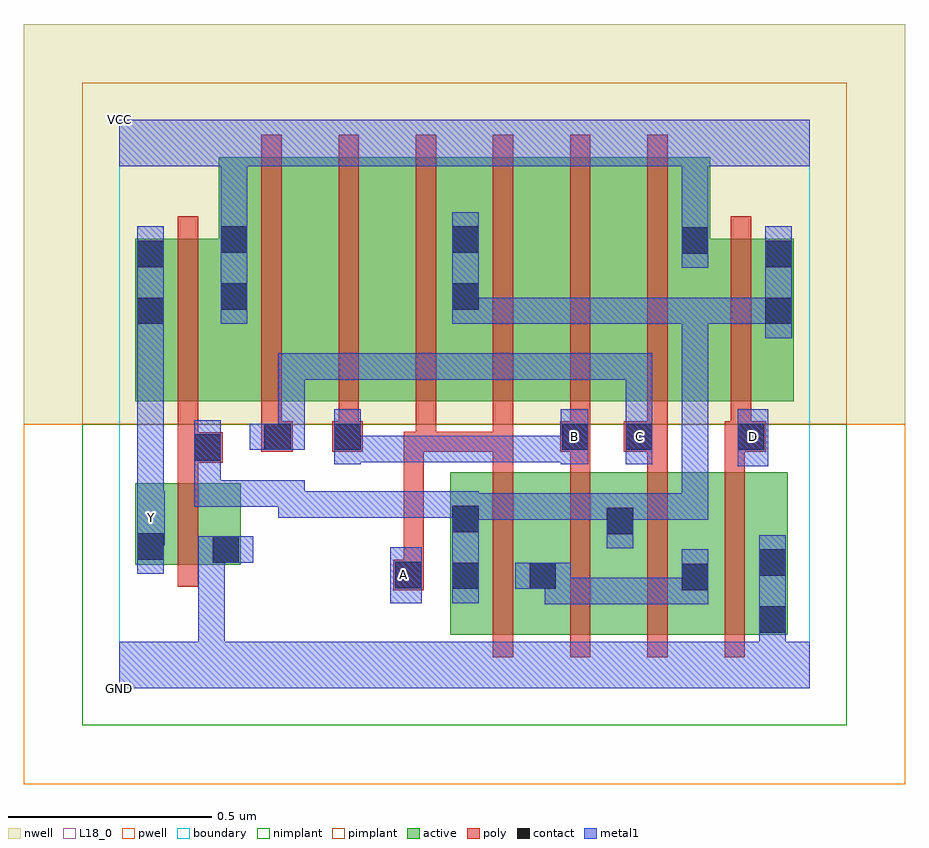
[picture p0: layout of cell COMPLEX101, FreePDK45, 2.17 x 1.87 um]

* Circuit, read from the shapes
.subckt COMPLEX101 A B C D GND VCC Y
M1 GND n1 Y VSUBS nfet w=0.2u l=0.05u
M2 n2 A n1 VSUBS nfet w=0.4u l=0.05u
M3 n1 B n2 VSUBS nfet w=0.4u l=0.05u
M4 n2 C n1 VSUBS nfet w=0.4u l=0.05u
M5 GND D n2 VSUBS nfet w=0.4u l=0.05u
M6 VCC n1 Y n3 pfet w=0.4u l=0.05u
M7 n4 C VCC n3 pfet w=0.6u l=0.05u
M8 n5 B n4 n3 pfet w=0.6u l=0.05u
M9 n1 A n5 n3 pfet w=0.6u l=0.05u
M10 n6 A n1 n3 pfet w=0.6u l=0.05u
M11 n7 B n6 n3 pfet w=0.6u l=0.05u
M12 VCC C n7 n3 pfet w=0.6u l=0.05u
M13 n1 D VCC n3 pfet w=0.4u l=0.05u
.ends

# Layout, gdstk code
import gdstk
lib = gdstk.Library(unit=1e-6, precision=1e-09)
def R(c, l, rs):  # rectangles x0, y0, x1, y1
    for r in rs: c.add(gdstk.rectangle(r[:2], r[2:], *l))
def A(c, l, x, y, w, h, nx, ny, dx, dy):  # array of equal rectangles
    R(c, l, [(x+i*dx, y+j*dy, x+i*dx+w, y+j*dy+h) for i in range(nx) for j in range(ny)])
active = (1, 0)
pwell = (2, 0)
nwell = (3, 0)
nimplant = (4, 0)
pimplant = (5, 0)
poly = (9, 0)
contact = (10, 0)
metal1 = (11, 0)
L18_0 = (18, 0)
boundary = (235, 0)

complex101 = lib.new_cell('COMPLEX101')
R(complex101, active, [(0.815,0.132,1.08,0.532), (1.005,0.132,1.27,0.532), (1.195,0.132,1.455,0.532), (1.38,0.132,1.645,0.532), (1.57,0.132,1.645,0.532), (0.815,0.195,0.89,0.532), (1.005,0.195,1.08,0.492), (1.195,0.195,1.27,0.492), (1.38,0.195,1.455,0.492), (0.04,0.305,0.115,0.505), (0.04,0.305,0.3,0.505), (0.225,0.305,0.3,0.505), (0.04,0.707,0.115,1.107), (0.04,0.707,0.32,1.107), (0.245,0.707,0.47,1.307), (0.245,0.707,0.32,1.307), (0.47,0.707,0.66,1.307), (0.66,0.707,0.89,1.307), (0.815,0.707,1.04,1.307), (0.815,0.707,0.89,1.2), (1.04,0.707,1.23,1.307), (1.23,0.707,1.455,1.307), (1.38,0.707,1.66,1.107), (1.585,0.707,1.66,1.107), (1.38,0.802,1.455,1.307)])
R(complex101, pwell, [(-0.235,-0.235,1.935,0.65)])
R(complex101, nwell, [(-0.235,0.65,1.935,1.635)])
R(complex101, nimplant, [(-0.09,-0.09,1.79,0.65)])
R(complex101, pimplant, [(-0.09,0.65,1.79,1.49)])
A(complex101, poly, 0.92, 0.077, 0.05, 0.51, 4, 1, 0.19, 0)
A(complex101, poly, 0.92, 0.537, 0.05, 0.095, 4, 1, 0.19, 0)
A(complex101, poly, 0.35, 0.652, 0.05, 0.71, 6, 1, 0.19, 0)
R(complex101, poly, [(0.675,0.242,0.75,0.317), (0.145,0.25,0.195,0.56), (0.7,0.267,0.75,0.632), (0.145,0.51,0.195,0.605), (0.145,0.555,0.255,0.63), (0.145,0.58,0.195,0.702), (0.35,0.582,0.427,0.657), (0.525,0.582,0.6,0.657), (0.7,0.582,0.765,0.632), (0.715,0.582,0.765,0.632), (0.715,0.582,0.78,0.632), (0.73,0.582,0.78,0.702), (0.73,0.582,0.97,0.632), (0.73,0.582,0.78,0.632), (0.73,0.582,0.78,0.632), (0.92,0.582,0.97,0.702), (0.92,0.582,0.97,0.632), (1.085,0.582,1.16,0.657), (1.242,0.582,1.35,0.657), (1.49,0.582,1.592,0.657), (0.35,0.607,0.4,0.702), (0.54,0.607,0.59,0.702), (1.11,0.607,1.16,0.702), (1.3,0.607,1.35,0.702), (1.505,0.607,1.555,0.702), (0.145,0.652,0.195,1.162), (1.505,0.652,1.555,1.162)])
R(complex101, contact, [(1.575,0.137,1.64,0.202), (1.385,0.242,1.45,0.307), (0.82,0.245,0.885,0.31), (1.01,0.245,1.075,0.31), (0.68,0.247,0.745,0.312), (1.575,0.277,1.64,0.342), (0.23,0.31,0.295,0.375), (0.045,0.317,0.11,0.382), (1.2,0.38,1.265,0.445), (0.82,0.385,0.885,0.45), (0.185,0.56,0.25,0.625), (0.357,0.587,0.422,0.652), (0.53,0.587,0.595,0.652), (1.09,0.587,1.155,0.652), (1.247,0.587,1.312,0.652), (1.522,0.587,1.587,0.652), (0.045,0.897,0.11,0.962), (1.59,0.897,1.655,0.962), (0.25,0.932,0.315,0.997), (0.82,0.932,0.885,0.997), (0.045,1.037,0.11,1.102), (1.59,1.037,1.655,1.102), (1.385,1.07,1.45,1.135), (0.25,1.072,0.315,1.137), (0.82,1.072,0.885,1.137)])
R(complex101, metal1, [(0,0,1.7,0.115), (0.195,0.05,0.26,0.115), (0.195,0.05,0.26,0.115), (0.195,0.05,0.26,0.115), (0.195,0.05,0.26,0.115), (0.195,0.05,0.26,0.375), (1.575,0.05,1.64,0.167), (1.575,0.102,1.64,0.167), (1.575,0.102,1.64,0.167), (1.575,0.102,1.64,0.377), (1.047,0.207,1.292,0.272), (1.047,0.207,1.112,0.31), (1.227,0.207,1.292,0.272), (1.227,0.207,1.292,0.272), (1.227,0.207,1.292,0.272), (1.227,0.207,1.45,0.272), (1.385,0.207,1.45,0.342), (0.667,0.21,0.745,0.347), (0.82,0.21,0.885,0.485), (0.975,0.245,1.11,0.31), (1.045,0.245,1.112,0.31), (0.045,0.282,0.11,0.417), (0.195,0.31,0.26,0.375), (0.195,0.31,0.26,0.375), (0.195,0.31,0.33,0.375), (1.2,0.345,1.265,0.48), (0.045,0.352,0.11,0.417), (0.045,0.352,0.112,0.487), (0.82,0.415,0.975,0.48), (0.91,0.415,0.975,0.48), (0.91,0.415,1.127,0.48), (1.062,0.415,1.127,0.48), (1.062,0.415,1.127,0.48), (1.062,0.415,1.127,0.48), (1.062,0.415,1.265,0.48), (1.2,0.415,1.45,0.48), (1.385,0.415,1.45,0.48), (1.385,0.415,1.45,0.48), (1.385,0.415,1.45,0.48), (1.385,0.415,1.45,0.48), (1.385,0.415,1.45,0.48), (1.385,0.415,1.45,0.962), (0.392,0.42,0.595,0.485), (0.392,0.42,0.457,0.512), (0.53,0.42,0.595,0.485), (0.53,0.42,0.7,0.485), (0.635,0.42,0.7,0.485), (0.635,0.42,0.837,0.485), (0.772,0.42,0.837,0.485), (0.772,0.42,0.885,0.485), (0.045,0.422,0.11,0.927), (0.185,0.447,0.25,0.512), (0.185,0.447,0.457,0.512), (0.185,0.447,0.25,0.59), (0.392,0.447,0.457,0.512), (0.392,0.447,0.457,0.512), (0.185,0.525,0.25,0.59), (0.185,0.525,0.25,0.59), (0.185,0.525,0.25,0.66), (1.522,0.547,1.597,0.687), (0.53,0.552,0.595,0.687), (1.087,0.552,1.155,0.687), (1.247,0.552,1.312,0.687), (0.53,0.557,0.595,0.622), (0.53,0.557,0.595,0.622), (0.53,0.557,0.837,0.622), (0.772,0.557,0.837,0.622), (0.772,0.557,0.837,0.622), (0.772,0.557,0.837,0.622), (0.772,0.557,0.975,0.622), (0.91,0.557,0.975,0.622), (0.91,0.557,1.127,0.622), (1.062,0.557,1.127,0.622), (1.062,0.557,1.152,0.622), (0.322,0.587,0.457,0.652), (0.392,0.587,0.457,0.652), (0.392,0.587,0.457,0.652), (0.392,0.587,0.457,0.825), (1.247,0.622,1.312,0.687), (1.247,0.622,1.312,0.687), (1.247,0.622,1.312,0.825), (0.392,0.76,0.457,0.825), (0.392,0.76,0.595,0.825), (0.53,0.76,0.595,0.825), (0.53,0.76,0.595,0.825), (0.53,0.76,0.595,0.825), (0.53,0.76,0.837,0.825), (0.772,0.76,0.837,0.825), (0.772,0.76,0.837,0.825), (0.772,0.76,0.837,0.825), (0.772,0.76,0.975,0.825), (0.91,0.76,0.975,0.825), (0.91,0.76,1.127,0.825), (1.062,0.76,1.127,0.825), (1.062,0.76,1.127,0.825), (1.062,0.76,1.127,0.825), (1.062,0.76,1.312,0.825), (1.247,0.76,1.312,0.825), (0.045,0.862,0.11,1.137), (1.59,0.862,1.655,1.137), (0.25,0.897,0.315,1.172), (0.82,0.897,0.885,1.172), (0.82,0.897,0.975,0.962), (0.91,0.897,0.975,0.962), (0.91,0.897,1.127,0.962), (1.062,0.897,1.127,0.962), (1.062,0.897,1.127,0.962), (1.062,0.897,1.127,0.962), (1.062,0.897,1.312,0.962), (1.247,0.897,1.312,0.962), (1.247,0.897,1.312,0.962), (1.247,0.897,1.312,0.962), (1.247,0.897,1.45,0.962), (1.385,0.897,1.45,0.962), (1.385,0.897,1.45,0.962), (1.385,0.897,1.45,0.962), (1.385,0.897,1.655,0.962), (1.59,0.897,1.655,0.962), (1.59,0.897,1.655,0.962), (1.385,1.035,1.45,1.17), (1.385,1.105,1.45,1.35), (0.25,1.107,0.315,1.35), (0,1.285,1.7,1.4)])
R(complex101, L18_0, [(0,0,1.7,0.115), (0.195,0.05,0.26,0.115), (0.195,0.05,0.26,0.115), (0.195,0.05,0.26,0.115), (0.195,0.05,0.26,0.115), (0.195,0.05,0.26,0.375), (1.575,0.05,1.64,0.167), (1.575,0.102,1.64,0.167), (1.575,0.102,1.64,0.167), (1.575,0.102,1.64,0.377), (0.667,0.21,0.745,0.347), (0.667,0.247,0.732,0.312), (0.045,0.282,0.11,0.417), (0.195,0.31,0.26,0.375), (0.195,0.31,0.26,0.375), (0.195,0.31,0.33,0.375), (0.045,0.352,0.112,0.487), (0.045,0.352,0.11,0.417), (0.047,0.387,0.112,0.452), (0.045,0.422,0.11,0.927), (1.522,0.547,1.597,0.687), (0.53,0.552,0.595,0.687), (1.087,0.552,1.155,0.687), (1.247,0.552,1.312,0.687), (0.53,0.557,0.595,0.622), (0.53,0.557,0.595,0.622), (0.53,0.557,0.837,0.622), (0.772,0.557,0.837,0.622), (0.772,0.557,0.837,0.622), (0.772,0.557,0.837,0.622), (0.772,0.557,0.975,0.622), (0.91,0.557,0.975,0.622), (0.91,0.557,1.127,0.622), (1.062,0.557,1.127,0.622), (1.062,0.557,1.152,0.622), (0.322,0.587,0.457,0.652), (0.392,0.587,0.457,0.652), (0.392,0.587,0.457,0.652), (0.392,0.587,0.457,0.825), (1.087,0.587,1.152,0.652), (1.247,0.587,1.312,0.652), (1.527,0.587,1.592,0.652), (1.247,0.622,1.312,0.687), (1.247,0.622,1.312,0.687), (1.247,0.622,1.312,0.825), (0.392,0.76,0.457,0.825), (0.392,0.76,0.595,0.825), (0.53,0.76,0.595,0.825), (0.53,0.76,0.595,0.825), (0.53,0.76,0.595,0.825), (0.53,0.76,0.837,0.825), (0.772,0.76,0.837,0.825), (0.772,0.76,0.837,0.825), (0.772,0.76,0.837,0.825), (0.772,0.76,0.975,0.825), (0.91,0.76,0.975,0.825), (0.91,0.76,1.127,0.825), (1.062,0.76,1.127,0.825), (1.062,0.76,1.127,0.825), (1.062,0.76,1.127,0.825), (1.062,0.76,1.312,0.825), (1.247,0.76,1.312,0.825), (0.045,0.862,0.11,1.137), (0.25,0.897,0.315,1.172), (1.385,1.035,1.45,1.17), (1.385,1.105,1.45,1.35), (0.25,1.107,0.315,1.35), (0,1.285,1.7,1.4)])
R(complex101, boundary, [(0,0,1.7,1.4)])
complex101.add(gdstk.Label('A', (0.7,0.28), layer=11, texttype=0))
complex101.add(gdstk.Label('B', (1.12,0.62), layer=11, texttype=0))
complex101.add(gdstk.Label('C', (1.28,0.62), layer=11, texttype=0))
complex101.add(gdstk.Label('D', (1.56,0.62), layer=11, texttype=0))
complex101.add(gdstk.Label('Y', (0.08,0.42), layer=11, texttype=0))
complex101.add(gdstk.Label('VCC', (0,1.4), layer=11, texttype=0))
complex101.add(gdstk.Label('GND', (0,0), layer=11, texttype=0))

lib.write_gds('COMPLEX101.gds')
